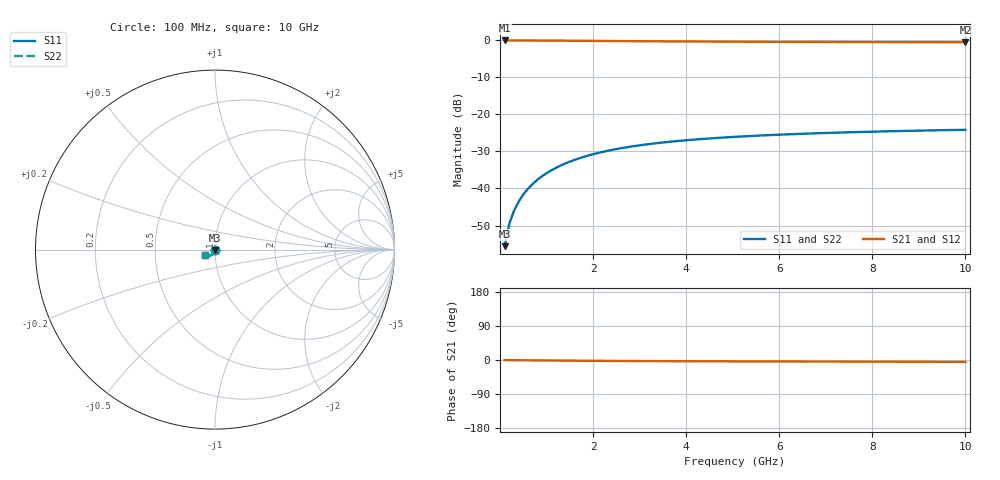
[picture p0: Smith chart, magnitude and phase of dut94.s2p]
! Touchstone file exported from HFSS 2024.1.0
!  File:  C:/UserFiles/LocalFiles/RDL_TSV_Batchsim/temp_TSV1_94_1779376341.aedt
!  Generated:  11:17:48 PM May 21, 2026
!  Design:  TSV1
!  Project:  temp_TSV1_94_1779376341
!  Setup:  Setup1
!  Solution:  Sweep
! Variables:
!  dtsv = 14.33um
!  hbump = 3um
!  htsv = 71.22um
!  lrdl = 252.1521522um
!  p = 40
!  p1 = 43.88um
!  t = 500um
!  trdl = 3um
!  wrdl = 24.89489489um
# GHz S MA R 50.000000
! Terminal data exported
! Port[1] = TSV22_T1
! Port[2] = TSV22_T2
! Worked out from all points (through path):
!   100 points, 100 MHz to 10 GHz, reference 50 ohm
!   highest |S21| = 0.00 dB at 100 MHz (marker M1); lowest = -0.5 dB at 10 GHz (marker M2)
!   lowest |S11| = -55.6 dB at 100 MHz (marker M3), VSWR 1.00, Z = 50 - j0.166 ohm
!   |S11| at or under -10 dB: start of sweep to end of sweep
!   |S22| runs from -55.6 to -24.1 dB; largest |S21 - S12| = 3.1e-15
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0.1  0.001662 -88.8  0.9999 -0.1  0.9999 -0.1  0.001662 -88.8
! Gamma 0 0 0 0
! Port Impedance 50 0 50 0
0.2  0.003323 -91.8  0.9997 -0.3  0.9997 -0.3  0.003323 -91.8
0.3  0.004982 -93.9  0.9995 -0.4  0.9995 -0.4  0.004982 -93.9
0.4  0.006631 -95.6  0.9992 -0.5  0.9992 -0.5  0.006631 -95.6
0.5  0.008265 -97.3  0.9988 -0.6  0.9988 -0.6  0.008265 -97.3
0.6  0.009879 -98.8  0.9983 -0.8  0.9983 -0.8  0.009879 -98.8
0.7  0.01147 -100.3  0.9977 -0.9  0.9977 -0.9  0.01147 -100.3
0.8  0.01303 -101.8  0.9971 -1.0  0.9971 -1.0  0.01303 -101.8
0.9  0.01456 -103.3  0.9964 -1.1  0.9964 -1.1  0.01457 -103.3
1.1  0.01753 -106.1  0.9949 -1.3  0.9949 -1.3  0.01753 -106.1
1.4  0.02171 -110.1  0.9923 -1.6  0.9923 -1.6  0.02171 -110.1
1.6  0.0243 -112.6  0.9905 -1.8  0.9905 -1.8  0.0243 -112.6
1.8  0.02674 -114.9  0.9886 -2.0  0.9886 -2.0  0.02674 -114.9
2.1  0.0301 -118.2  0.9857 -2.2  0.9857 -2.2  0.0301 -118.2
2.5  0.03406 -122.2  0.9819 -2.5  0.9819 -2.5  0.03406 -122.2
2.9  0.0375 -125.7  0.9783 -2.7  0.9783 -2.7  0.0375 -125.7
3.4  0.04117 -129.5  0.9741 -2.9  0.9741 -2.9  0.04117 -129.5
4.2  0.04592 -134.4  0.9682 -3.2  0.9682 -3.2  0.04592 -134.4
5.1  0.05006 -138.8  0.9627 -3.5  0.9627 -3.5  0.05006 -138.8
6.7  0.05542 -144.5  0.9552 -4.0  0.9552 -4.0  0.05542 -144.5
8.4  0.05938 -148.8  0.9496 -4.4  0.9496 -4.4  0.05938 -148.8
10  0.06209 -151.9  0.9457 -4.9  0.9457 -4.9  0.06209 -151.9
